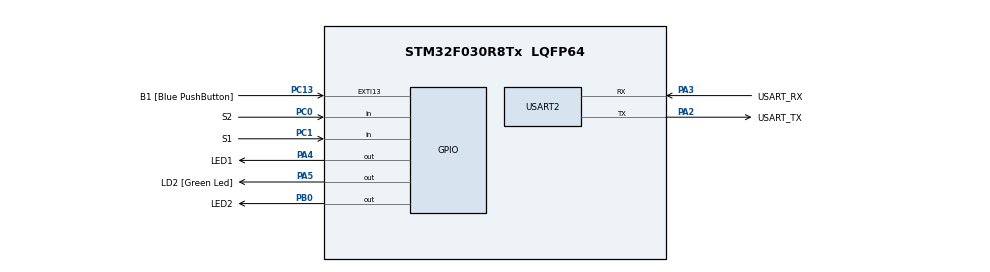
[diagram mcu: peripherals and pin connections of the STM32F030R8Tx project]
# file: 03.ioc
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Mcu.Family=STM32F0
Mcu.Name=STM32F030R8Tx
Mcu.Package=LQFP64
PA13.GPIO_Label=TMS
PA13.Mode=Serial_Wire
PA13.Signal=SYS_SWDIO
PA14.GPIO_Label=TCK
PA14.Mode=Serial_Wire
PA14.Signal=SYS_SWCLK
PA2.GPIO_Label=USART_TX
PA2.GPIO_Mode=GPIO_MODE_AF_PP
PA2.GPIO_PuPd=GPIO_NOPULL
PA2.GPIO_Speed=GPIO_SPEED_FREQ_LOW
PA2.Mode=Asynchronous
PA2.Signal=USART2_TX
PA3.GPIO_Label=USART_RX
PA3.GPIO_Mode=GPIO_MODE_AF_PP
PA3.GPIO_PuPd=GPIO_NOPULL
PA3.GPIO_Speed=GPIO_SPEED_FREQ_LOW
PA3.Mode=Asynchronous
PA3.Signal=USART2_RX
PA4.GPIO_Label=LED1
PA4.Signal=GPIO_Output
PA5.GPIO_Label=LD2 [Green Led]
PA5.GPIO_Mode=GPIO_MODE_OUTPUT_PP
PA5.GPIO_PuPd=GPIO_NOPULL
PA5.GPIO_Speed=GPIO_SPEED_FREQ_LOW
PA5.Signal=GPIO_Output
PB0.GPIO_Label=LED2
PB0.Signal=GPIO_Output
PC0.GPIO_Label=S2
PC0.GPIO_PuPd=GPIO_PULLUP
PC0.Signal=GPIO_Input
PC1.GPIO_Label=S1
PC1.GPIO_PuPd=GPIO_PULLUP
PC1.Signal=GPIO_Input
PC13.GPIO_Label=B1 [Blue PushButton]
PC13.GPIO_ModeDefaultEXTI=GPIO_MODE_IT_FALLING
PC13.Signal=GPXTI13
PC14-OSC32_IN.Mode=LSE-External-Oscillator
PC14-OSC32_IN.Signal=RCC_OSC32_IN
PC15-OSC32_OUT.Mode=LSE-External-Oscillator
PC15-OSC32_OUT.Signal=RCC_OSC32_OUT
PF0-OSC_IN.Mode=HSE-External-Clock-Source
PF0-OSC_IN.Signal=RCC_OSC_IN
PF1-OSC_OUT.Signal=RCC_OSC_OUT
ProjectManager.HeapSize=0x200
ProjectManager.StackSize=0x400
ProjectManager.TargetToolchain=STM32CubeIDE
RCC.AHBFreq_Value=48000000
RCC.APB1Freq_Value=48000000
RCC.APB1TimFreq_Value=48000000
RCC.HCLKFreq_Value=48000000
RCC.PLLMUL=RCC_PLL_MUL12
RCC.SYSCLKFreq_VALUE=48000000
RCC.SYSCLKSource=RCC_SYSCLKSOURCE_PLLCLK
USART2.VirtualMode-Asynchronous=VM_ASYNC
board=NUCLEO-F030R8

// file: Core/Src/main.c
/* USER CODE BEGIN Header */
/**
 ******************************************************************************
 * @file           : main.c
 * @brief          : Main program body
 ******************************************************************************
 * @attention
 *
 * Copyright (c) 2024 STMicroelectronics.
 * All rights reserved.
 *
 * This software is licensed under terms that can be found in the LICENSE file
 * in the root directory of this software component.
 * If no LICENSE file comes with this software, it is provided AS-IS.
 *
 ******************************************************************************
 */
/* USER CODE END Header */
#include "main.h"

/* USER CODE BEGIN PD */
#define BLINK_TIME 300
#define BUTTON_PERIOD 5
#define LED_TIME_SHORT 100
#define LED_TIME_LONG 1000
/* USER CODE END PD */

/* USER CODE BEGIN PV */
volatile uint32_t Tick;
/* USER CODE END PV */

void SystemClock_Config(void);
static void MX_GPIO_Init(void);
static void MX_USART2_UART_Init(void);

/* USER CODE BEGIN 0 */
static void blink(){

	static uint32_t last_blink_tick;

	if (Tick > last_blink_tick + BLINK_TIME)
	{
		last_blink_tick = Tick;

		//Code here
		LL_GPIO_TogglePin(LED1_GPIO_Port, LED1_Pin);

	}

}

static void button()
{
	static uint32_t off_time;
	//static uint32_t old_s1;
	static uint32_t old_s2;

	//------------ ADVANCED DEBOUNCING ------------
	static uint16_t debounce = 0xFFFF;

	uint32_t new_s2 = LL_GPIO_IsInputPinSet(S2_GPIO_Port, S2_Pin);

	//S2 - short time
	if (old_s2 && !new_s2)
	{
		// falling edge
		off_time = Tick + LED_TIME_SHORT;
		LL_GPIO_SetOutputPin(LED2_GPIO_Port, LED2_Pin);
	}
	old_s2 = new_s2;

	//------------ ADVANCED ------------
	debounce <<=1;
	if (LL_GPIO_IsInputPinSet(S1_GPIO_Port, S1_Pin)){
		debounce |= 0x0001;
	}

	if(debounce == 0x7FFF)
	{
		off_time = Tick + LED_TIME_LONG;
		LL_GPIO_SetOutputPin(LED2_GPIO_Port, LED2_Pin);
	}

	if (Tick > off_time)
	{
		LL_GPIO_ResetOutputPin(LED2_GPIO_Port, LED2_Pin);
	}

}
/* USER CODE END 0 */

int main(void)
{

	/* MCU Configuration--------------------------------------------------------*/

	/* Reset of all peripherals, Initializes the Flash interface and the Systick. */
	LL_APB1_GRP2_EnableClock(LL_APB1_GRP2_PERIPH_SYSCFG);
	LL_APB1_GRP1_EnableClock(LL_APB1_GRP1_PERIPH_PWR);

	/* Configure the system clock */
	SystemClock_Config();

	/* Initialize all configured peripherals */
	MX_GPIO_Init();
	MX_USART2_UART_Init();
	/* USER CODE BEGIN 2 */
	LL_SYSTICK_EnableIT();
	/* USER CODE END 2 */

	/* Infinite loop */
	/* USER CODE BEGIN WHILE */
	while (1)
	{
		blink();

		static uint32_t last_button_tick;

		if (Tick > last_button_tick + BUTTON_PERIOD)
		{
			last_button_tick = Tick;
			button();
		}

		/* USER CODE END WHILE */

	}
}

void SystemClock_Config(void)
{
	LL_FLASH_SetLatency(LL_FLASH_LATENCY_1);
	while(LL_FLASH_GetLatency() != LL_FLASH_LATENCY_1)
	{
	}
	LL_RCC_HSI_Enable();

	/* Wait till HSI is ready */
	while(LL_RCC_HSI_IsReady() != 1)
	{

	}
	LL_RCC_HSI_SetCalibTrimming(16);
	LL_RCC_PLL_ConfigDomain_SYS(LL_RCC_PLLSOURCE_HSI_DIV_2, LL_RCC_PLL_MUL_12);
	LL_RCC_PLL_Enable();

	/* Wait till PLL is ready */
	while(LL_RCC_PLL_IsReady() != 1)
	{

	}
	LL_RCC_SetAHBPrescaler(LL_RCC_SYSCLK_DIV_1);
	LL_RCC_SetAPB1Prescaler(LL_RCC_APB1_DIV_1);
	LL_RCC_SetSysClkSource(LL_RCC_SYS_CLKSOURCE_PLL);

	/* Wait till System clock is ready */
	while(LL_RCC_GetSysClkSource() != LL_RCC_SYS_CLKSOURCE_STATUS_PLL)
	{

	}
	LL_Init1msTick(48000000);
	LL_SetSystemCoreClock(48000000);
}

static void MX_USART2_UART_Init(void)
{

	LL_USART_InitTypeDef USART_InitStruct = {0};

	LL_GPIO_InitTypeDef GPIO_InitStruct = {0};

	/* Peripheral clock enable */
	LL_APB1_GRP1_EnableClock(LL_APB1_GRP1_PERIPH_USART2);

	LL_AHB1_GRP1_EnableClock(LL_AHB1_GRP1_PERIPH_GPIOA);
	/**USART2 GPIO Configuration
  PA2   ------> USART2_TX
  PA3   ------> USART2_RX
	 */
	GPIO_InitStruct.Pin = USART_TX_Pin;
	GPIO_InitStruct.Mode = LL_GPIO_MODE_ALTERNATE;
	GPIO_InitStruct.Speed = LL_GPIO_SPEED_FREQ_LOW;
	GPIO_InitStruct.OutputType = LL_GPIO_OUTPUT_PUSHPULL;
	GPIO_InitStruct.Pull = LL_GPIO_PULL_NO;
	GPIO_InitStruct.Alternate = LL_GPIO_AF_1;
	LL_GPIO_Init(USART_TX_GPIO_Port, &GPIO_InitStruct);

	GPIO_InitStruct.Pin = USART_RX_Pin;
	GPIO_InitStruct.Mode = LL_GPIO_MODE_ALTERNATE;
	GPIO_InitStruct.Speed = LL_GPIO_SPEED_FREQ_LOW;
	GPIO_InitStruct.OutputType = LL_GPIO_OUTPUT_PUSHPULL;
	GPIO_InitStruct.Pull = LL_GPIO_PULL_NO;
	GPIO_InitStruct.Alternate = LL_GPIO_AF_1;
	LL_GPIO_Init(USART_RX_GPIO_Port, &GPIO_InitStruct);

	USART_InitStruct.BaudRate = 38400;
	USART_InitStruct.DataWidth = LL_USART_DATAWIDTH_8B;
	USART_InitStruct.StopBits = LL_USART_STOPBITS_1;
	USART_InitStruct.Parity = LL_USART_PARITY_NONE;
	USART_InitStruct.TransferDirection = LL_USART_DIRECTION_TX_RX;
	USART_InitStruct.HardwareFlowControl = LL_USART_HWCONTROL_NONE;
	USART_InitStruct.OverSampling = LL_USART_OVERSAMPLING_16;
	LL_USART_Init(USART2, &USART_InitStruct);
	LL_USART_DisableIT_CTS(USART2);
	LL_USART_ConfigAsyncMode(USART2);
	LL_USART_Enable(USART2);

}

static void MX_GPIO_Init(void)
{
	LL_EXTI_InitTypeDef EXTI_InitStruct = {0};
	LL_GPIO_InitTypeDef GPIO_InitStruct = {0};

	/* GPIO Ports Clock Enable */
	LL_AHB1_GRP1_EnableClock(LL_AHB1_GRP1_PERIPH_GPIOC);
	LL_AHB1_GRP1_EnableClock(LL_AHB1_GRP1_PERIPH_GPIOF);
	LL_AHB1_GRP1_EnableClock(LL_AHB1_GRP1_PERIPH_GPIOA);
	LL_AHB1_GRP1_EnableClock(LL_AHB1_GRP1_PERIPH_GPIOB);

	/**/
	LL_GPIO_ResetOutputPin(LED1_GPIO_Port, LED1_Pin);

	/**/
	LL_GPIO_ResetOutputPin(LD2_GPIO_Port, LD2_Pin);

	/**/
	LL_GPIO_ResetOutputPin(LED2_GPIO_Port, LED2_Pin);

	/**/
	LL_SYSCFG_SetEXTISource(LL_SYSCFG_EXTI_PORTC, LL_SYSCFG_EXTI_LINE13);

	/**/
	LL_GPIO_SetPinPull(B1_GPIO_Port, B1_Pin, LL_GPIO_PULL_NO);

	/**/
	LL_GPIO_SetPinMode(B1_GPIO_Port, B1_Pin, LL_GPIO_MODE_INPUT);

	/**/
	EXTI_InitStruct.Line_0_31 = LL_EXTI_LINE_13;
	EXTI_InitStruct.LineCommand = ENABLE;
	EXTI_InitStruct.Mode = LL_EXTI_MODE_IT;
	EXTI_InitStruct.Trigger = LL_EXTI_TRIGGER_FALLING;
	LL_EXTI_Init(&EXTI_InitStruct);

	/**/
	GPIO_InitStruct.Pin = S2_Pin;
	GPIO_InitStruct.Mode = LL_GPIO_MODE_INPUT;
	GPIO_InitStruct.Pull = LL_GPIO_PULL_UP;
	LL_GPIO_Init(S2_GPIO_Port, &GPIO_InitStruct);

	/**/
	GPIO_InitStruct.Pin = S1_Pin;
	GPIO_InitStruct.Mode = LL_GPIO_MODE_INPUT;
	GPIO_InitStruct.Pull = LL_GPIO_PULL_UP;
	LL_GPIO_Init(S1_GPIO_Port, &GPIO_InitStruct);

	/**/
	GPIO_InitStruct.Pin = LED1_Pin;
	GPIO_InitStruct.Mode = LL_GPIO_MODE_OUTPUT;
	GPIO_InitStruct.Speed = LL_GPIO_SPEED_FREQ_LOW;
	GPIO_InitStruct.OutputType = LL_GPIO_OUTPUT_PUSHPULL;
	GPIO_InitStruct.Pull = LL_GPIO_PULL_NO;
	LL_GPIO_Init(LED1_GPIO_Port, &GPIO_InitStruct);

	/**/
	GPIO_InitStruct.Pin = LD2_Pin;
	GPIO_InitStruct.Mode = LL_GPIO_MODE_OUTPUT;
	GPIO_InitStruct.Speed = LL_GPIO_SPEED_FREQ_LOW;
	GPIO_InitStruct.OutputType = LL_GPIO_OUTPUT_PUSHPULL;
	GPIO_InitStruct.Pull = LL_GPIO_PULL_NO;
	LL_GPIO_Init(LD2_GPIO_Port, &GPIO_InitStruct);

	/**/
	GPIO_InitStruct.Pin = LED2_Pin;
	GPIO_InitStruct.Mode = LL_GPIO_MODE_OUTPUT;
	GPIO_InitStruct.Speed = LL_GPIO_SPEED_FREQ_LOW;
	GPIO_InitStruct.OutputType = LL_GPIO_OUTPUT_PUSHPULL;
	GPIO_InitStruct.Pull = LL_GPIO_PULL_NO;
	LL_GPIO_Init(LED2_GPIO_Port, &GPIO_InitStruct);

}

void Error_Handler(void)
{
	__disable_irq();
	while (1)
	{
	}
}
